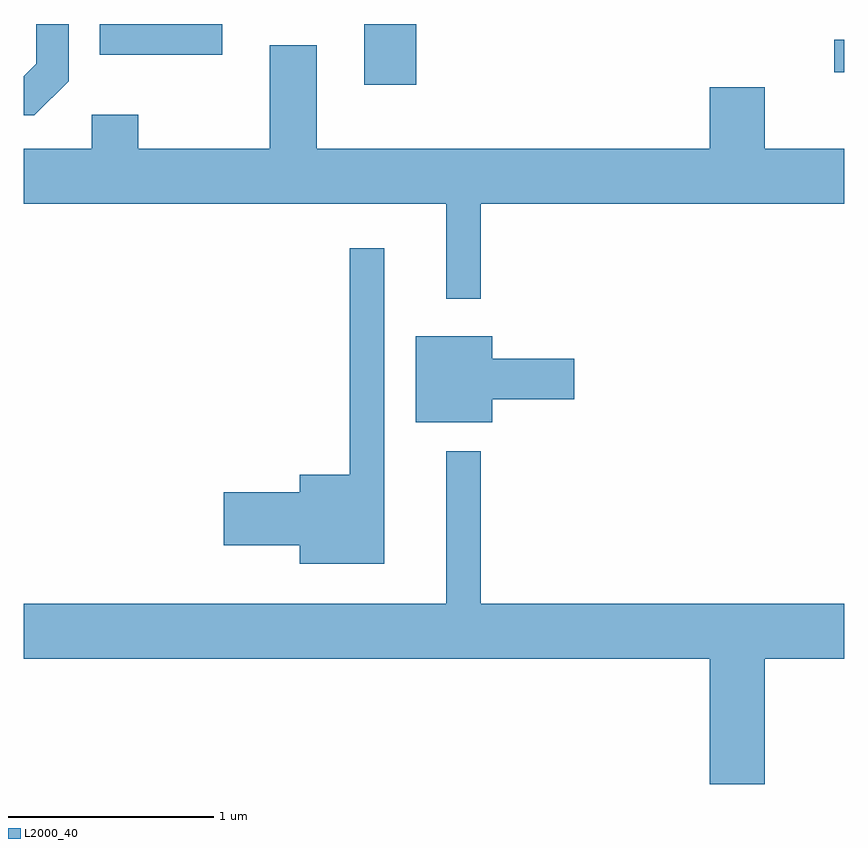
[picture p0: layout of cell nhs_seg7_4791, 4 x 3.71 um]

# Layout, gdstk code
import gdstk
lib = gdstk.Library(unit=1e-6, precision=1e-09)
def R(c, l, rs):  # rectangles x0, y0, x1, y1
    for r in rs: c.add(gdstk.rectangle(r[:2], r[2:], *l))
def P(c, l, *ps):  # polygons
    for p in ps: c.add(gdstk.Polygon(p, *l))
L2000_40 = (2000, 40)

nhs_seg7_4791 = lib.new_cell('nhs_seg7_4791')
R(nhs_seg7_4791, L2000_40, [(333.271,1765.956,333.524,1766.252), (335.563,1766.016,335.611,1766.174), (331.981,1766.101,332.579,1766.252)])
P(nhs_seg7_4791, L2000_40, [(331.829,1765.974),(331.829,1766.252),(331.671,1766.252),(331.671,1766.057),(331.611,1765.996),(331.611,1765.806),(331.662,1765.806)],
  [(333.839,1765.376),(335.611,1765.376),(335.611,1765.644),(335.224,1765.644),(335.224,1765.944),(334.956,1765.944),(334.956,1765.644),(333.039,1765.644),(333.039,1766.149),(332.811,1766.149),(332.811,1765.644),(332.169,1765.644),(332.169,1765.809),(331.941,1765.809),(331.941,1765.644),(331.611,1765.644),(331.611,1765.376),(333.671,1765.376),(333.671,1764.913),(333.839,1764.913)],
  [(333.369,1765.158),(333.201,1765.158),(333.201,1764.054),(332.956,1764.054),(332.956,1763.969),(332.586,1763.969),(332.586,1763.711),(332.956,1763.711),(332.956,1763.621),(333.369,1763.621)],
  [(333.894,1764.421),(334.294,1764.421),(334.294,1764.619),(333.894,1764.619),(333.894,1764.729),(333.521,1764.729),(333.521,1764.311),(333.894,1764.311)],
  [(335.224,1763.156),(335.611,1763.156),(335.611,1763.424),(333.839,1763.424),(333.839,1764.168),(333.671,1764.168),(333.671,1763.424),(331.611,1763.424),(331.611,1763.156),(334.956,1763.156),(334.956,1762.546),(335.224,1762.546)])

lib.write_gds('nhs_seg7_4791.gds')
